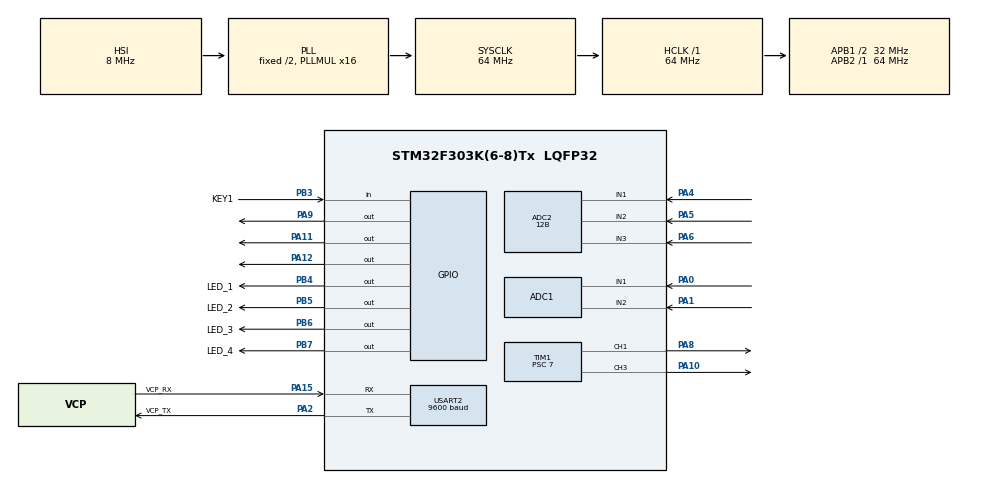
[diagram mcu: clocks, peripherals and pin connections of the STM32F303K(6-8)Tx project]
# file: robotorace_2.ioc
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ADC1.Channel-0\#ChannelRegularConversion=ADC_CHANNEL_1
ADC1.Channel-1\#ChannelRegularConversion=ADC_CHANNEL_2
ADC1.ClockPrescaler=ADC_CLOCK_SYNC_PCLK_DIV4
ADC1.ContinuousConvMode=ENABLE
ADC1.DMAContinuousRequests=ENABLE
ADC1.DiscontinuousConvMode=DISABLE
ADC1.NbrOfConversion=2
ADC1.NbrOfConversionFlag=1
ADC1.Offset-0\#ChannelRegularConversion=0
ADC1.Offset-1\#ChannelRegularConversion=0
ADC1.OffsetNumber-0\#ChannelRegularConversion=ADC_OFFSET_NONE
ADC1.OffsetNumber-1\#ChannelRegularConversion=ADC_OFFSET_NONE
ADC1.Rank-0\#ChannelRegularConversion=1
ADC1.Rank-1\#ChannelRegularConversion=2
ADC1.SamplingTime-0\#ChannelRegularConversion=ADC_SAMPLETIME_19CYCLES_5
ADC1.SamplingTime-1\#ChannelRegularConversion=ADC_SAMPLETIME_19CYCLES_5
ADC1.SamplingTimeOPAMP-1\#ChannelRegularConversion=ADC_SAMPLETIME_2CYCLES_5
ADC1.SubFamily=STM32F303x8
ADC1.master=1
ADC2.Channel-0\#ChannelRegularConversion=ADC_CHANNEL_1
ADC2.Channel-1\#ChannelRegularConversion=ADC_CHANNEL_2
ADC2.Channel-2\#ChannelRegularConversion=ADC_CHANNEL_3
ADC2.ClockPrescaler=ADC_CLOCK_SYNC_PCLK_DIV4
ADC2.ContinuousConvMode=ENABLE
ADC2.DMAContinuousRequests=ENABLE
ADC2.NbrOfConversion=3
ADC2.NbrOfConversionFlag=1
ADC2.Offset-0\#ChannelRegularConversion=0
ADC2.Offset-1\#ChannelRegularConversion=0
ADC2.Offset-2\#ChannelRegularConversion=0
ADC2.OffsetNumber-0\#ChannelRegularConversion=ADC_OFFSET_NONE
ADC2.OffsetNumber-1\#ChannelRegularConversion=ADC_OFFSET_NONE
ADC2.OffsetNumber-2\#ChannelRegularConversion=ADC_OFFSET_NONE
ADC2.Rank-0\#ChannelRegularConversion=1
ADC2.Rank-1\#ChannelRegularConversion=2
ADC2.Rank-2\#ChannelRegularConversion=3
ADC2.Resolution=ADC_RESOLUTION_12B
ADC2.SamplingTime-0\#ChannelRegularConversion=ADC_SAMPLETIME_19CYCLES_5
ADC2.SamplingTime-1\#ChannelRegularConversion=ADC_SAMPLETIME_19CYCLES_5
ADC2.SamplingTime-2\#ChannelRegularConversion=ADC_SAMPLETIME_19CYCLES_5
Dma.ADC1.0.Direction=DMA_PERIPH_TO_MEMORY
Dma.ADC1.0.Instance=DMA1_Channel1
Dma.ADC1.0.MemDataAlignment=DMA_MDATAALIGN_HALFWORD
Dma.ADC1.0.MemInc=DMA_MINC_ENABLE
Dma.ADC1.0.Mode=DMA_CIRCULAR
Dma.ADC1.0.PeriphDataAlignment=DMA_PDATAALIGN_HALFWORD
Dma.ADC1.0.PeriphInc=DMA_PINC_DISABLE
Dma.ADC1.0.Priority=DMA_PRIORITY_LOW
Dma.ADC2.1.Direction=DMA_PERIPH_TO_MEMORY
Dma.ADC2.1.Instance=DMA1_Channel2
Dma.ADC2.1.MemDataAlignment=DMA_MDATAALIGN_HALFWORD
Dma.ADC2.1.MemInc=DMA_MINC_ENABLE
Dma.ADC2.1.Mode=DMA_CIRCULAR
Dma.ADC2.1.PeriphDataAlignment=DMA_PDATAALIGN_HALFWORD
Dma.ADC2.1.PeriphInc=DMA_PINC_DISABLE
Dma.ADC2.1.Priority=DMA_PRIORITY_LOW
Dma.Request0=ADC1
Dma.Request1=ADC2
Mcu.Family=STM32F3
Mcu.Name=STM32F303K(6-8)Tx
Mcu.Package=LQFP32
NVIC.PriorityGroup=NVIC_PRIORITYGROUP_4
NVIC.TIM2_IRQn=true\:0\:0\:false\:false\:true\:true\:true\:true
NVIC.TIM3_IRQn=true\:0\:0\:false\:false\:true\:true\:true\:true
PA0.Mode=IN1-Single-Ended
PA0.Signal=ADC1_IN1
PA1.Mode=IN2-Single-Ended
PA1.Signal=ADC1_IN2
PA10.Signal=S_TIM1_CH3
PA11.Signal=GPIO_Output
PA12.Signal=GPIO_Output
PA13.GPIO_Label=SWDIO
PA13.Mode=Serial_Wire
PA13.Signal=SYS_JTMS-SWDIO
PA14.GPIO_Label=SWCLK
PA14.Mode=Serial_Wire
PA14.Signal=SYS_JTCK-SWCLK
PA15.GPIO_Label=VCP_RX
PA15.Mode=Asynchronous
PA15.Signal=USART2_RX
PA2.GPIO_Label=VCP_TX
PA2.Mode=Asynchronous
PA2.Signal=USART2_TX
PA4.Mode=IN1-Single-Ended
PA4.Signal=ADC2_IN1
PA5.Mode=IN2-Single-Ended
PA5.Signal=ADC2_IN2
PA6.Mode=IN3-Single-Ended
PA6.Signal=ADC2_IN3
PA8.Signal=S_TIM1_CH1
PA9.Signal=GPIO_Output
PB3.GPIO_Label=KEY1
PB3.Signal=GPIO_Input
PB4.GPIO_Label=LED_1
PB4.Signal=GPIO_Output
PB5.GPIO_Label=LED_2
PB5.Signal=GPIO_Output
PB6.GPIO_Label=LED_3
PB6.Signal=GPIO_Output
PB7.GPIO_Label=LED_4
PB7.Signal=GPIO_Output
PF0\ /\ OSC_IN.GPIO_Label=MCO
PF0\ /\ OSC_IN.Mode=HSE-External-Clock-Source
PF0\ /\ OSC_IN.Signal=RCC_OSC_IN
ProjectManager.HeapSize=0x200
ProjectManager.StackSize=0x400
ProjectManager.TargetToolchain=Makefile
RCC.AHBFreq_Value=64000000
RCC.APB1CLKDivider=RCC_HCLK_DIV2
RCC.APB1Freq_Value=32000000
RCC.APB1TimFreq_Value=64000000
RCC.APB2Freq_Value=64000000
RCC.APB2TimFreq_Value=64000000
RCC.CortexFreq_Value=64000000
RCC.HCLKFreq_Value=64000000
RCC.HSE_VALUE=8000000
RCC.HSI_VALUE=8000000
RCC.PLLMUL=RCC_PLL_MUL16
RCC.SYSCLKFreq_VALUE=64000000
RCC.SYSCLKSourceVirtual=RCC_SYSCLKSOURCE_PLLCLK
SH.S_TIM1_CH1.0=TIM1_CH1,PWM Generation1 CH1
SH.S_TIM1_CH3.0=TIM1_CH3,PWM Generation3 CH3
TIM1.Channel-PWM\ Generation1\ CH1=TIM_CHANNEL_1
TIM1.Channel-PWM\ Generation3\ CH3=TIM_CHANNEL_3
TIM1.Period=8000
TIM1.Prescaler=7
TIM2.Period=100-1
TIM2.Prescaler=64-1
TIM3.Period=500-1
TIM3.Prescaler=64-1
USART2.BaudRate=9600
USART2.VirtualMode-Asynchronous=VM_ASYNC
VP_TIM1_VS_ClockSourceINT.Mode=Internal
VP_TIM2_VS_ClockSourceINT.Mode=Internal
VP_TIM3_VS_ClockSourceINT.Mode=Internal
board=NUCLEO-F303K8

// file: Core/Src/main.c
/* USER CODE BEGIN Header */
/**
  ******************************************************************************
  * @file           : main.c
  * @brief          : Main program body
  ******************************************************************************
  * @attention
  *
  * Copyright (c) 2023 STMicroelectronics.
  * All rights reserved.
  *
  * This software is licensed under terms that can be found in the LICENSE file
  * in the root directory of this software component.
  * If no LICENSE file comes with this software, it is provided AS-IS.
  *
  ******************************************************************************
  */
/* USER CODE END Header */
#include "main.h"
#include "adc.h"
#include "dma.h"
#include "tim.h"
#include "usart.h"
#include "gpio.h"

/* USER CODE BEGIN Includes */
#include <stdio.h>
#ifdef __GNUC__
	#define PUTCHAR_PROTOTYPE int __io_putchar(double analog2)
#else
	#define PUTCHAR_PROTOTYPE int fputc(int analog2, FILE *f)
#endif /*__GNUC__*/

/* USER CODE END Includes */

void SystemClock_Config(void);

/* USER CODE BEGIN 0 */

void    init(void);
void    led_out(void);
void    MotorCtrl(void);
void    LineTrace(void);
void    SensUp(void);
void    Side_SensUp(void);
int     GetVol(void);
void    Stop(void);

int timer1=0;
int ledval=1;
int MotorL_Rev=0,MotorR_Rev=0;
int MotorL=0,MotorR=0;
int ErrFlg=0;
int SensValBuf=0;
int SensorR,SensorL;
int Side_SensorR,Side_SensorL;
int Curve_Sensor;
int SensR[9],SensL[9];
int Side_SensR[9],Side_SensL[9],Curve_Sens[9];
int Flag=0,FlagL=0,FlagR=0;
double PGainCLB=0;
double IGainCLB=0;
double DGainCLB=0;
double SensVal_I,SensVal_IBuf=0;
char turnFlg=0;
char timeFlg=0;
char stopFlg=0;
char Stime=0;
int CommSpeed=9500;
char buf[1];
uint16_t analog1[2];
uint16_t analog2[3];
uint8_t button_state = 1;

/*void HAL_UART_RxCpltCallback(UART_HandleTypeDef *huart){
	HAL_UART_Transmit_IT(&huart2, (uint16_t *)analog2, sizeof(analog2)/sizeof(analog2[0]));
	HAL_UART_Receive_IT(&huart2, (uint16_t *)analog2, sizeof(analog2)/sizeof(analog2[0]));
 }*/

void SensUp(void){
int i,j,SensBuf;
  for (i = 0; i < 9; i++) {
    for (j = 9; j > i; j--) {
      if (SensR[j-1] > SensR[j]) {
        SensBuf = SensR[j-1];
        SensR[j-1] = SensR[j];
        SensR[j] = SensBuf;
      }
      if (SensL[j-1] > SensL[j]) {
        SensBuf = SensL[j-1];
        SensL[j-1] = SensL[j];
        SensL[j] = SensBuf;
      }
    }
  }

    SensorR = SensR[5];
    SensorL = SensL[5];
    }

void Side_SensUp(void){
int i,j,Side_SensBuf;
  for (i = 0; i < 9; i++) {
    for (j = 9; j > i; j--) {
      if (Side_SensR[j-1] > Side_SensR[j]) {
        Side_SensBuf = Side_SensR[j-1];
        Side_SensR[j-1] = Side_SensR[j];
        Side_SensR[j] = Side_SensBuf;
      }
      if (Side_SensL[j-1] > Side_SensL[j]) {
        Side_SensBuf = Side_SensL[j-1];
        Side_SensL[j-1] = Side_SensL[j];
        Side_SensL[j] = Side_SensBuf;
      }
      if (Curve_Sens[j-1] > Curve_Sens[j]) {
        Side_SensBuf = Curve_Sens[j-1];
        Curve_Sens[j-1] = Curve_Sens[j];
        Curve_Sens[j] = Side_SensBuf;
      }
    }
  }
    Side_SensorR = Side_SensR[5];
    Side_SensorL = Side_SensL[5];
    Curve_Sensor = Curve_Sens[5];
    }

void sensGet(){
    if(Stime >= 9) {
        Stime=0;
        }
    SensR[Stime] = analog1[1];
    SensL[Stime] = analog1[0];
    Side_SensL[Stime] = analog2[1];
    Side_SensR[Stime] = analog2[2];
    Curve_Sens[Stime] = analog2[0];
    Stime++;
    }
void LineTrace(void){
  int SensVal,SensVal_D;
  double PGain=65.0,IGain=0.000001,DGain=0.0;
  SensVal = SensorR - SensorL;
  if(Curve_Sensor<2550){
    CommSpeed=10500;
    HAL_GPIO_TogglePin(LED_2_GPIO_Port,LED_2_Pin);
    HAL_GPIO_WritePin(LED_4_GPIO_Port,LED_4_Pin,0);
  }else{
    CommSpeed=9000;
    HAL_GPIO_TogglePin(LED_4_GPIO_Port,LED_4_Pin);
    HAL_GPIO_WritePin(LED_2_GPIO_Port,LED_2_Pin,0);
  }
  if(stopFlg>=2)CommSpeed=0;
  if(SensVal <= 0 && !turnFlg){
    turnFlg=1;
    SensVal_I = 0;
  }else if (SensVal >= 0 && turnFlg){//turnR
    turnFlg=0;
    SensVal_I = 0;
  }
  SensVal_I = SensVal_I + SensVal;
  SensVal_IBuf = SensVal_IBuf + SensVal;
  if(SensVal_I >= 100000000) SensVal_I = 100000000;
  if(SensVal_I <= (-100000000)) SensVal_I = (-100000000);
  SensVal_D = SensValBuf - SensVal;       //左右のセンサー値の差の変化
  SensValBuf = SensVal;
  MotorR = ((CommSpeed - ((SensVal * PGain)+(SensVal_I*IGain)-(SensVal_D*DGain)))/10);
  if(MotorR < 0 ){
      MotorL = MotorR * (-1);
  }
  MotorL = ((CommSpeed + ((SensVal * PGain)+(SensVal_I*IGain)-(SensVal_D*DGain)))/10);
  if(MotorL < 0 ){
      MotorR = MotorL * (-1);
  }
  ledval = (SensVal_IBuf / (-100000));
  //MotorR = int(CommSpeed - (SensVal * PGainCLB));
  //MotorL = int(CommSpeed + (SensVal * PGainCLB));
  }
  /*void stop2(void){
    if(stopFlg==2)
  }*/
  void stop(void){
    if((Side_SensorL > 1600) && (Side_SensorR > 2000)){
        if(Flag == 1){
            Flag = 0;
            if((FlagL == 1) && (FlagR == 1)){
            }else{
                if(FlagL == 1){
                }else{
                    stopFlg ++;
                }
            }
            FlagL = 0;
            FlagR = 0;
        }
    }else{
        Flag = 1;
        if(Side_SensorL < 1600)FlagL = 1;
        if(Side_SensorR < 2000)FlagR = 1;
    }
}
  void HAL_TIM_PeriodElapsedCallback(TIM_HandleTypeDef *htim)
  {
    if(htim->Instance == TIM2){
      sensGet();
    }
    if(htim->Instance == TIM3){
      SensUp();
      Side_SensUp();
      LineTrace();
      stop();
    }
  }/*
  PUTCHAR_PROTOTYPE {
	HAL_UART_Transmit(&huart2, (uint16_t *)&analog2, 1, 0xFFFF);
	return analog2;
}*/
/* USER CODE END 0 */

int main(void)
{

  /* MCU Configuration--------------------------------------------------------*/

  /* Reset of all peripherals, Initializes the Flash interface and the Systick. */
  HAL_Init();

  /* Configure the system clock */
  SystemClock_Config();

  /* Initialize all configured peripherals */
  MX_GPIO_Init();
  MX_DMA_Init();
  MX_USART2_UART_Init();
  MX_ADC1_Init();
  MX_ADC2_Init();
  MX_TIM1_Init();
  MX_TIM3_Init();
  MX_TIM2_Init();
  /* USER CODE BEGIN 2 */
  HAL_GPIO_WritePin(LED_2_GPIO_Port,LED_2_Pin,1);
  HAL_GPIO_WritePin(LED_3_GPIO_Port,LED_3_Pin,1);
  HAL_GPIO_WritePin(LED_4_GPIO_Port,LED_4_Pin,1);
  HAL_TIM_Base_Start_IT(&htim2);
  HAL_TIM_Base_Start_IT(&htim3);
  if(HAL_TIM_PWM_Start(&htim1, TIM_CHANNEL_1) != HAL_OK) { Error_Handler(); }
  HAL_GPIO_WritePin(LED_4_GPIO_Port,LED_4_Pin,0);
  if(HAL_TIM_PWM_Start(&htim1, TIM_CHANNEL_3) != HAL_OK) { Error_Handler(); }
  HAL_GPIO_WritePin(LED_3_GPIO_Port,LED_3_Pin,0);
  if(HAL_ADC_Start_DMA(&hadc1, (uint32_t *) analog1, 2) != HAL_OK){
    Error_Handler();
  }
  HAL_GPIO_WritePin(LED_2_GPIO_Port,LED_2_Pin,0);
  if(HAL_ADC_Start_DMA(&hadc2, (uint32_t *) analog2, 3) != HAL_OK){
    Error_Handler();
  }
  while(1){
    while(button_state){
      HAL_GPIO_WritePin(GPIOA, GPIO_PIN_12, 1);
      __HAL_TIM_SET_COMPARE(&htim1, TIM_CHANNEL_1,0);
      HAL_GPIO_WritePin(GPIOA, GPIO_PIN_9, 0);
      __HAL_TIM_SET_COMPARE(&htim1, TIM_CHANNEL_3,0);
      button_state = HAL_GPIO_ReadPin(KEY1_GPIO_Port,KEY1_Pin);
      HAL_GPIO_WritePin(LED_3_GPIO_Port,LED_3_Pin,0);
    }
    HAL_Delay(1000);
    button_state=1;

  //HAL_UART_Receive_IT(&huart2, (uint16_t *)analog2, sizeof(analog2)/sizeof(analog2[0]));
  /* USER CODE END 2 */

  /* Infinite loop */
    while (1)
    {

    /* USER CODE BEGIN 3 */
      HAL_GPIO_WritePin(GPIOA, GPIO_PIN_12, 1);
      __HAL_TIM_SET_COMPARE(&htim1, TIM_CHANNEL_1,MotorL);
      HAL_GPIO_WritePin(GPIOA, GPIO_PIN_9, 0);
      __HAL_TIM_SET_COMPARE(&htim1, TIM_CHANNEL_3,MotorR);
      //printf("%d\r\n",Side_SensorR);
    //HAL_GPIO_WritePin(LED_4_GPIO_Port,LED_4_Pin,analog2[3]%2);
  //if(!(button_state))break;
    }
  }
  /* USER CODE END 3 */
}

void SystemClock_Config(void)
{
  RCC_OscInitTypeDef RCC_OscInitStruct = {0};
  RCC_ClkInitTypeDef RCC_ClkInitStruct = {0};
  RCC_PeriphCLKInitTypeDef PeriphClkInit = {0};

  /** Initializes the RCC Oscillators according to the specified parameters
  * in the RCC_OscInitTypeDef structure.
  */
  RCC_OscInitStruct.OscillatorType = RCC_OSCILLATORTYPE_HSI;
  RCC_OscInitStruct.HSIState = RCC_HSI_ON;
  RCC_OscInitStruct.HSICalibrationValue = RCC_HSICALIBRATION_DEFAULT;
  RCC_OscInitStruct.PLL.PLLState = RCC_PLL_ON;
  RCC_OscInitStruct.PLL.PLLSource = RCC_PLLSOURCE_HSI;
  RCC_OscInitStruct.PLL.PLLMUL = RCC_PLL_MUL16;
  if (HAL_RCC_OscConfig(&RCC_OscInitStruct) != HAL_OK)
  {
    Error_Handler();
  }

  /** Initializes the CPU, AHB and APB buses clocks
  */
  RCC_ClkInitStruct.ClockType = RCC_CLOCKTYPE_HCLK|RCC_CLOCKTYPE_SYSCLK
                              |RCC_CLOCKTYPE_PCLK1|RCC_CLOCKTYPE_PCLK2;
  RCC_ClkInitStruct.SYSCLKSource = RCC_SYSCLKSOURCE_PLLCLK;
  RCC_ClkInitStruct.AHBCLKDivider = RCC_SYSCLK_DIV1;
  RCC_ClkInitStruct.APB1CLKDivider = RCC_HCLK_DIV2;
  RCC_ClkInitStruct.APB2CLKDivider = RCC_HCLK_DIV1;

  if (HAL_RCC_ClockConfig(&RCC_ClkInitStruct, FLASH_LATENCY_2) != HAL_OK)
  {
    Error_Handler();
  }
  PeriphClkInit.PeriphClockSelection = RCC_PERIPHCLK_TIM1;
  PeriphClkInit.Tim1ClockSelection = RCC_TIM1CLK_HCLK;
  if (HAL_RCCEx_PeriphCLKConfig(&PeriphClkInit) != HAL_OK)
  {
    Error_Handler();
  }
}

/* USER CODE BEGIN 4 */

int _write(int file, char *ptr, int len)
{
  HAL_UART_Transmit(&huart2,(uint16_t *)ptr,len,10);
  return len;
}

/* USER CODE END 4 */

void Error_Handler(void)
{
  __disable_irq();
  while (1)
  {
  }
}
